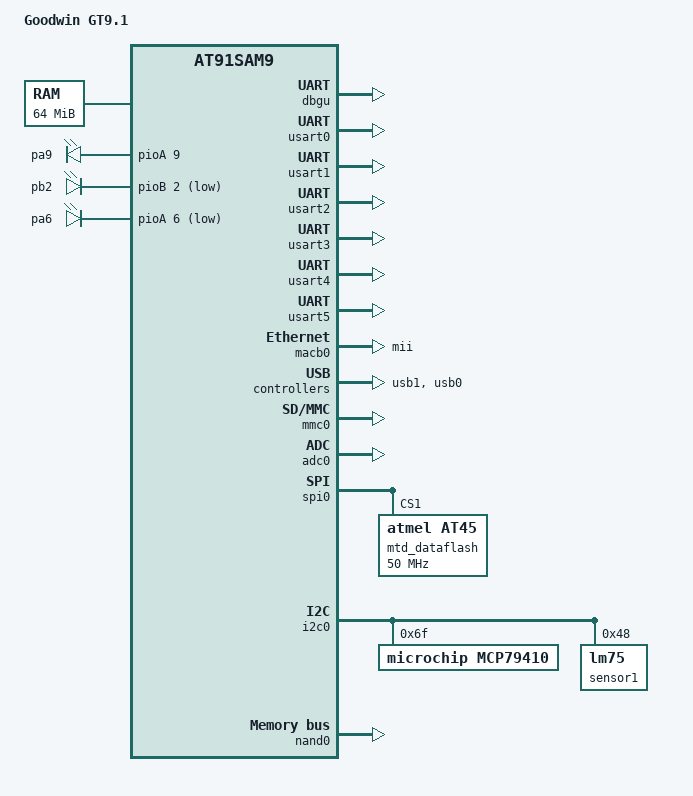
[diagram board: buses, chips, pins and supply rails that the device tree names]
/*
 * at91sam9g20ek.dts - Device Tree file for Atmel at91sam9g20ek board
 *
 * Copyright (C) 2012 Jean-Christophe PLAGNIOL-VILLARD <plagnioj@jcrosoft.com>
 *
 * Licensed under GPLv2.
 */
/dts-v1/;
/include/ "at91sam9g20.dtsi"

/ {
	model = "Goodwin GT9.1";
	compatible = "atmel,at91sam9g20ek", "atmel,at91sam9g20", "atmel,at91sam9";

	chosen {
		bootargs = "mem=64M console=ttyS0,115200 root=/dev/mtdblock5 rw rootfstype=ubifs";
	};

	memory {
		reg = <0x20000000 0x4000000>;
	};

	clocks {
		#address-cells = <1>;
		#size-cells = <1>;
		ranges;

		main_clock: clock@0 {
			compatible = "atmel,osc", "fixed-clock";
			clock-frequency = <18432000>;
		};
	};

	leds {
		compatible = "gpio-leds";

		pa9 {
			label = "pa9";
			gpios = <&pioA 9 0>;
			linux,default-trigger = "heartbeat";
		};

		pb2 {
			label = "pb2";
			gpios = <&pioB 2 1>;
		};

		pa6 {
			label = "pa6";
			gpios = <&pioA 6 1>;
		};
	};

	ahb {
		apb {
			dbgu: serial@fffff200 {
				status = "okay";
			};

			usart0: serial@fffb0000 {
				pinctrl-0 =
					<&pinctrl_usart0
					 &pinctrl_usart0_rts
					 &pinctrl_usart0_cts
					 &pinctrl_usart0_dtr_dsr
					 &pinctrl_usart0_dcd
					 &pinctrl_usart0_ri>;
				status = "okay";
			};

			usart1: serial@fffb4000 {
				status = "okay";
				pinctrl-0 = <&pinctrl_usart1 &pinctrl_usart1_rts>;
				linux,rs485-enabled-at-boot-time;
				rs485-rts-delay = <0 0>;
			};

			usart2: serial@fffb8000 {
				status = "okay";
			};

			usart3: serial@fffd0000 {
				pinctrl-0 = <&pinctrl_usart3 &pinctrl_usart3_rts>;
				linux,rs485-enabled-at-boot-time;
				rs485-rts-delay = <0 0>;
				status = "okay";
			};

			usart4: serial@fffd4000 {
				status = "okay";
			};

			usart5: serial@fffd8000 {
				status = "okay";
			};

			macb0: ethernet@fffc4000 {
				phy-mode = "mii";
				status = "okay";
			};

			usb1: gadget@fffa4000 {
				atmel,vbus-gpio = <&pioC 5 0>;
				status = "okay";
			};


			mmc0: mmc@fffa8000 {
				status = "okay";
				slot@1 {
					reg = <1>;
					bus-width = <4>;
				};
			};

			adc0: adc@fffe0000 {
				atmel,adc-channels-used = <0x1>;
				atmel,adc-num-channels = <1>;
				status = "okay";
			};

			spi0: spi@fffc8000 {
				status = "okay";
				mtd_dataflash@0 {
					compatible = "atmel,at45", "atmel,dataflash";
					spi-max-frequency = <50000000>;
					reg = <1>;
				};
			};

			i2c0: i2c@fffac000 {
				status = "okay";

				mcp79410: rtc@6f {
					compatible = "microchip,mcp79410";
					reg = <0x6f>;
				};

				sensor1: lm75@48 {
					compatible = "lm75";
					reg = <0x48>;
				};
			};

			watchdog@fffffd40 {
				status = "okay";
			};

			/* RTS on this board doesn't have external pull down */
			pinctrl@fffff400 {
				usart1 {
					pinctrl_usart1_rts: usart1_rts-0 {
						atmel,pins =
							<1 28 0x1 0x8>;
					};
				};

				usart3 {
					pinctrl_usart3_rts: usart3_rts-0 {
						atmel,pins =
							<2 8 0x2 0x8>;
					};
				};
			};


		};

		nand0: nand@40000000 {
			nand-bus-width = <8>;
			nand-ecc-mode = "soft";
			nand-on-flash-bbt;
			status = "okay";
		};

		usb0: ohci@00500000 {
			num-ports = <2>;
			status = "okay";
		};
	};

};
